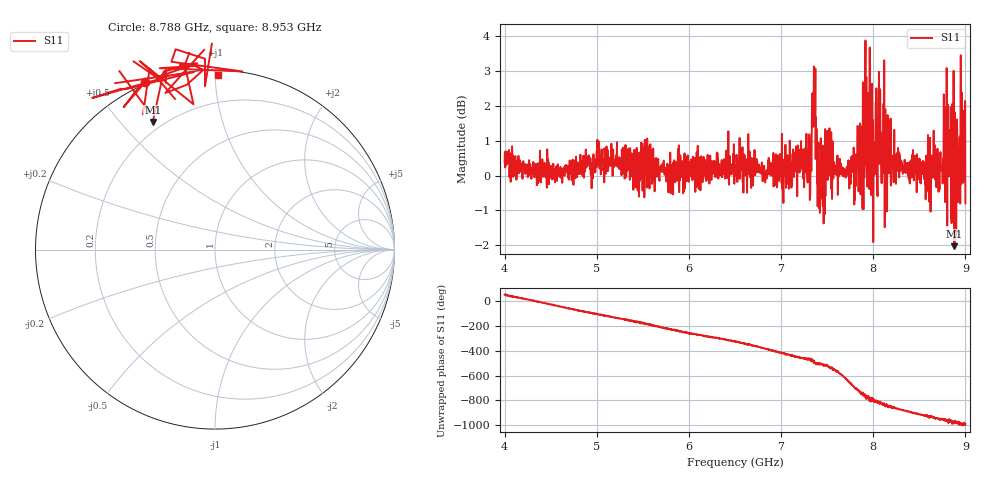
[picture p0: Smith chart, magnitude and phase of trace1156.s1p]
! Created with skrf 1.8.0 (http://scikit-rf.org).
# Hz S RI R 50.0
!freq ReS11 ImS11
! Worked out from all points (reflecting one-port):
!   1601 points, 4 GHz to 9 GHz, reference 50 ohm
!   lowest |S11| = -2.0 dB at 8.881 GHz (marker M1), VSWR 8.60, Z = 8.04 + j30.7 ohm
!   phase of S11 starts at 53 deg and turns -1046 deg over the sweep
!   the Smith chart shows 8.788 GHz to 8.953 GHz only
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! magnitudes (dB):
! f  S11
! 4 GHz  0.4
! 4.625 GHz  -0.2
! 5.25 GHz  0.2
! 5.875 GHz  0.2
! 6.5 GHz  0.2
! 7.125 GHz  0.6
! 7.306 GHz  1.2
! 7.359 GHz  2.8
! 7.381 GHz  0.5
! 7.4 GHz  0.8
! 7.438 GHz  0.2
! 7.509 GHz  0.7
! 7.572 GHz  0.4
! 7.75 GHz  0.1
! 7.884 GHz  -1.0
! 7.938 GHz  1.5
! 7.991 GHz  0.4
! 8.022 GHz  0.7
! 8.05 GHz  1.5
! 8.097 GHz  0.3
! 8.216 GHz  0.4
! 8.375 GHz  0.2
! 8.731 GHz  0.7
! 8.788 GHz  0.1
! 8.881 GHz  -2.0
! 8.919 GHz  -0.6
! 8.972 GHz  0.5
! 9 GHz  -0.8
